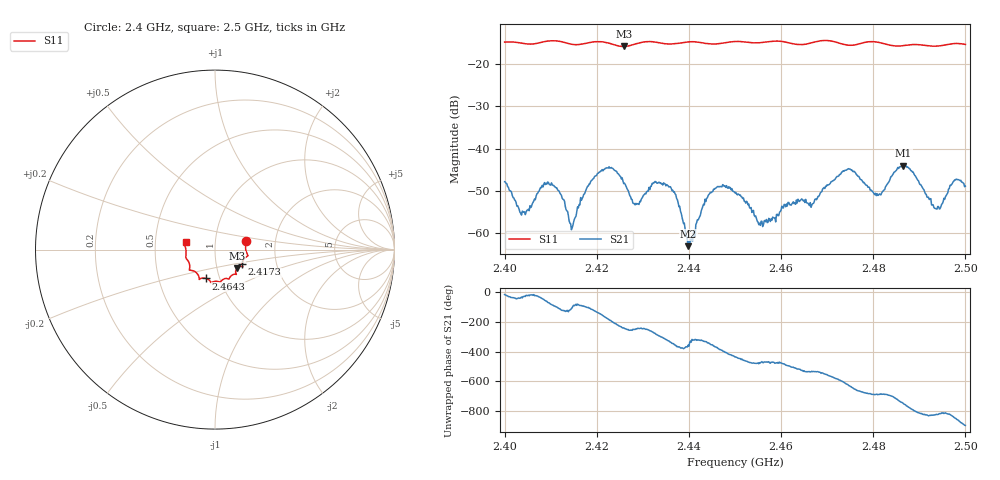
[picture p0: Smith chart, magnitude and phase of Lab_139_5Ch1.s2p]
# Hz S RI R 50
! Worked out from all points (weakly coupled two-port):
!   601 points, 2.4 GHz to 2.5 GHz, reference 50 ohm
!   highest |S21| = -44.00 dB at 2.4865 GHz (marker M1); lowest = -63.0 dB at 2.4398 GHz (marker M2)
!   lowest |S11| = -15.9 dB at 2.4258 GHz (marker M3), VSWR 1.38, Z = 62.3 - j13.3 ohm
!   |S11| at or under -10 dB: start of sweep to end of sweep
!   S12 and S22 are empty: the file has one direction only
!   S11 on the Smith chart (normalised r, x): 2.4 GHz: 1.41, +0.14; 2.4173 GHz: 1.34, -0.23; 2.4643 GHz: 0.86, -0.28; 2.5 GHz: 0.72, +0.06
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2.4e9  0.1732 0.0494  0.00392 -0.00107  0 0  0 0
2.404e9  0.1721 0.0251  0.00159 -0.00087  0 0  0 0
2.410667e9  0.1836 -0.0344  -9.74e-05 -0.00367  0 0  0 0
2.4145e9  0.1623 -0.0511  -0.00036 -0.00104  0 0  0 0
2.416667e9  0.1529 -0.0746  2.68e-05 -0.00245  0 0  0 0
2.417333e9  0.1521 -0.0819  -0.000251 -0.0029  0 0  0 0
2.422167e9  0.1506 -0.0945  -0.00591 -0.000587  0 0  0 0
2.425833e9  0.1216 -0.1037  -0.00192 0.00335  0 0  0 0
2.428667e9  0.1153 -0.129  -0.000823 0.00204  0 0  0 0
2.433333e9  0.1128 -0.137  0.00143 0.00369  0 0  0 0
2.437e9  0.0874 -0.1486  0.00291 0.000164  0 0  0 0
2.439833e9  0.0798 -0.1625  0.000705 3.84e-05  0 0  0 0
2.444833e9  0.0569 -0.1613  0.00301 0.000272  0 0  0 0
2.45e9  0.0293 -0.1807  0.000659 -0.00293  0 0  0 0
2.455667e9  -0.00386 -0.1775  -0.00053 -0.00128  0 0  0 0
2.464333e9  -0.05 -0.1606  -0.00243 -0.00059  0 0  0 0
2.466667e9  -0.0758 -0.1597  -0.00215 -0.000245  0 0  0 0
2.474333e9  -0.1 -0.1325  -0.000817 0.00559  0 0  0 0
2.483333e9  -0.1407 -0.09  0.00364 0.00166  0 0  0 0
2.4865e9  -0.1525 -0.0595  0.00548 -0.00314  0 0  0 0
2.493667e9  -0.1613 -0.00587  -0.0005 -0.00189  0 0  0 0
2.5e9  -0.1638 0.0421  -0.00361 -2.88e-05  0 0  0 0
